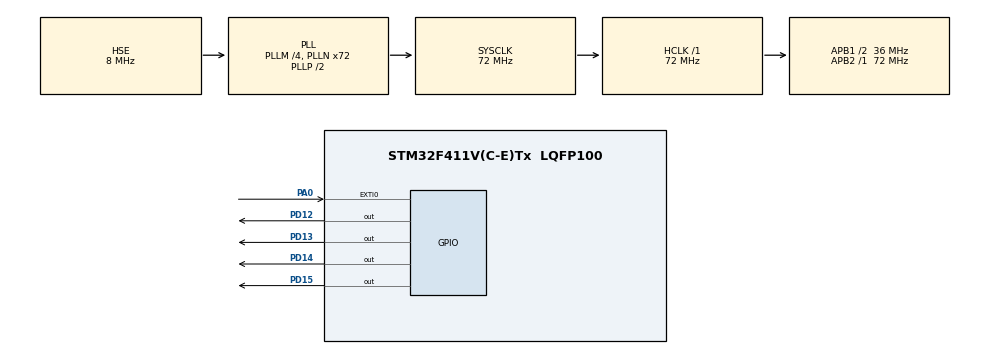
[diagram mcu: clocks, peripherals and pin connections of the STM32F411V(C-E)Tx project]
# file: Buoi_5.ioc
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Mcu.Family=STM32F4
Mcu.Name=STM32F411V(C-E)Tx
Mcu.Package=LQFP100
NVIC.EXTI0_IRQn=true\:0\:0\:true\:false\:true\:true\:true\:true
NVIC.PriorityGroup=NVIC_PRIORITYGROUP_4
NVIC.TIM1_BRK_TIM9_IRQn=true\:1\:0\:true\:false\:true\:true\:true\:true
NVIC.TIM1_UP_TIM10_IRQn=true\:1\:0\:true\:false\:true\:true\:true\:true
PA0-WKUP.GPIO_ModeDefaultEXTI=GPIO_MODE_IT_FALLING
PA0-WKUP.Signal=GPXTI0
PA13.Mode=Serial_Wire
PA13.Signal=SYS_JTMS-SWDIO
PA14.Mode=Serial_Wire
PA14.Signal=SYS_JTCK-SWCLK
PD12.Signal=GPIO_Output
PD13.Signal=GPIO_Output
PD14.Signal=GPIO_Output
PD15.Signal=GPIO_Output
PH0\ -\ OSC_IN.Mode=HSE-External-Oscillator
PH0\ -\ OSC_IN.Signal=RCC_OSC_IN
PH1\ -\ OSC_OUT.Mode=HSE-External-Oscillator
PH1\ -\ OSC_OUT.Signal=RCC_OSC_OUT
ProjectManager.HeapSize=0x200
ProjectManager.StackSize=0x400
ProjectManager.TargetToolchain=MDK-ARM V5.32
RCC.48MHZClocksFreq_Value=36000000
RCC.AHBFreq_Value=72000000
RCC.APB1CLKDivider=RCC_HCLK_DIV2
RCC.APB1Freq_Value=36000000
RCC.APB1TimFreq_Value=72000000
RCC.APB2Freq_Value=72000000
RCC.APB2TimFreq_Value=72000000
RCC.CortexFreq_Value=72000000
RCC.HCLKFreq_Value=72000000
RCC.HSE_VALUE=8000000
RCC.HSI_VALUE=16000000
RCC.LSE_VALUE=32768
RCC.PLLM=4
RCC.PLLN=72
RCC.PLLSourceVirtual=RCC_PLLSOURCE_HSE
RCC.SYSCLKFreq_VALUE=72000000
RCC.SYSCLKSource=RCC_SYSCLKSOURCE_PLLCLK
RCC.VCOOutputFreq_Value=144000000
TIM1.Period=9999
TIM1.Prescaler=72-1
VP_TIM1_VS_ClockSourceINT.Mode=Internal
board=custom

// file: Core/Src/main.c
#include "main.h"
#include "tim.h"
#include "gpio.h"

/* USER CODE BEGIN PD */
int check=1;
uint16_t milisecond;
uint32_t previousMillis = 0;
uint32_t currentMillis = 0;
void main1(void);
void main2(void);
/* USER CODE END PD */

void SystemClock_Config(void);

/* USER CODE BEGIN 0 */
void main1(){
	HAL_GPIO_WritePin(GPIOD,GPIO_PIN_13,0);
	HAL_GPIO_TogglePin(GPIOD,GPIO_PIN_12);
	milisecond=0;
}
void main2(){
	HAL_GPIO_WritePin(GPIOD,GPIO_PIN_12,0);
	HAL_GPIO_TogglePin(GPIOD,GPIO_PIN_13);
	milisecond=0;
}
void HAL_GPIO_EXTI_Callback(uint16_t GPIO_Pin)
{
	 currentMillis = HAL_GetTick();
	if (GPIO_Pin == GPIO_PIN_0 && (currentMillis - previousMillis >10))
  {
    check=!check;
    previousMillis = currentMillis;
  }
}
void HAL_TIM_PeriodElapsedCallback(TIM_HandleTypeDef *htim){
	if(htim->Instance == htim1.Instance)
 {
	 milisecond ++;
	 if(milisecond ==10){
		 if(check==0) main1();
		 else main2();
  }
 }
}
/* USER CODE END 0 */

int main(void)
{

  HAL_Init();

  SystemClock_Config();

  MX_GPIO_Init();
  MX_TIM1_Init();
  /* USER CODE BEGIN 2 */
	HAL_TIM_Base_Start_IT(&htim1);
  /* USER CODE END 2 */

  while (1)
  {

  }
}

void SystemClock_Config(void)
{
  RCC_OscInitTypeDef RCC_OscInitStruct = {0};
  RCC_ClkInitTypeDef RCC_ClkInitStruct = {0};

  __HAL_RCC_PWR_CLK_ENABLE();
  __HAL_PWR_VOLTAGESCALING_CONFIG(PWR_REGULATOR_VOLTAGE_SCALE1);

  RCC_OscInitStruct.OscillatorType = RCC_OSCILLATORTYPE_HSE;
  RCC_OscInitStruct.HSEState = RCC_HSE_ON;
  RCC_OscInitStruct.PLL.PLLState = RCC_PLL_ON;
  RCC_OscInitStruct.PLL.PLLSource = RCC_PLLSOURCE_HSE;
  RCC_OscInitStruct.PLL.PLLM = 4;
  RCC_OscInitStruct.PLL.PLLN = 72;
  RCC_OscInitStruct.PLL.PLLP = RCC_PLLP_DIV2;
  RCC_OscInitStruct.PLL.PLLQ = 4;
  if (HAL_RCC_OscConfig(&RCC_OscInitStruct) != HAL_OK)
  {
    Error_Handler();
  }

  RCC_ClkInitStruct.ClockType = RCC_CLOCKTYPE_HCLK|RCC_CLOCKTYPE_SYSCLK
                              |RCC_CLOCKTYPE_PCLK1|RCC_CLOCKTYPE_PCLK2;
  RCC_ClkInitStruct.SYSCLKSource = RCC_SYSCLKSOURCE_PLLCLK;
  RCC_ClkInitStruct.AHBCLKDivider = RCC_SYSCLK_DIV1;
  RCC_ClkInitStruct.APB1CLKDivider = RCC_HCLK_DIV2;
  RCC_ClkInitStruct.APB2CLKDivider = RCC_HCLK_DIV1;

  if (HAL_RCC_ClockConfig(&RCC_ClkInitStruct, FLASH_LATENCY_2) != HAL_OK)
  {
    Error_Handler();
  }
}

void Error_Handler(void)
{

  __disable_irq();
  while (1)
  {
  }

}
